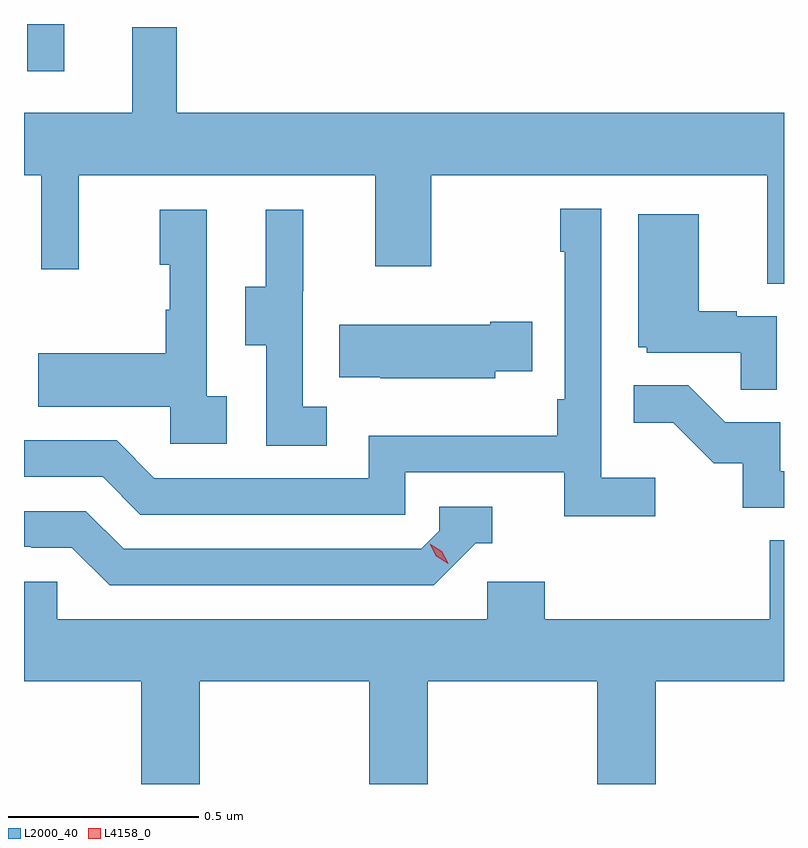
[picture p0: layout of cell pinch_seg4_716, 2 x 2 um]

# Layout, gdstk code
import gdstk
lib = gdstk.Library(unit=1e-6, precision=1e-09)
def R(c, l, rs):  # rectangles x0, y0, x1, y1
    for r in rs: c.add(gdstk.rectangle(r[:2], r[2:], *l))
def P(c, l, *ps):  # polygons
    for p in ps: c.add(gdstk.Polygon(p, *l))
L2000_40 = (2000, 40)
L4158_0 = (4158, 0)

pinch_seg4_716 = lib.new_cell('pinch_seg4_716')
R(pinch_seg4_716, L2000_40, [(1114.34,763.794,1114.437,763.918)])
P(pinch_seg4_716, L2000_40, [(1114.733,763.909),(1114.616,763.909),(1114.616,763.684),(1114.331,763.684),(1114.331,763.52),(1114.377,763.52),(1114.377,763.272),(1114.475,763.272),(1114.475,763.52),(1115.255,763.52),(1115.255,763.281),(1115.403,763.281),(1115.403,763.52),(1116.287,763.52),(1116.287,763.234),(1116.331,763.234),(1116.331,763.684),(1114.733,763.684)],
  [(1115.992,762.724),(1115.85,762.724),(1115.85,763.432),(1115.742,763.432),(1115.742,763.319),(1115.754,763.319),(1115.754,762.931),(1115.734,762.931),(1115.734,762.835),(1115.238,762.835),(1115.238,762.723),(1114.674,762.723),(1114.575,762.822),(1114.331,762.822),(1114.331,762.726),(1114.538,762.726),(1114.637,762.627),(1115.334,762.627),(1115.334,762.738),(1115.753,762.738),(1115.753,762.622),(1115.992,762.622)],
  [(1114.864,762.938),(1114.812,762.938),(1114.812,763.429),(1114.688,763.429),(1114.688,763.284),(1114.714,763.284),(1114.714,763.166),(1114.704,763.166),(1114.704,763.051),(1114.369,763.051),(1114.369,762.911),(1114.716,762.911),(1114.716,762.813),(1114.864,762.813)],
  [(1115.128,762.911),(1115.064,762.911),(1115.064,763.215),(1115.066,763.215),(1115.066,763.429),(1114.967,763.429),(1114.967,763.227),(1114.913,763.227),(1114.913,763.072),(1114.968,763.072),(1114.968,762.808),(1115.128,762.808)],
  [(1116.312,763.149),(1116.206,763.149),(1116.206,763.162),(1116.106,763.162),(1116.106,763.417),(1115.948,763.417),(1115.948,763.068),(1115.97,763.068),(1115.97,763.053),(1116.217,763.053),(1116.217,762.955),(1116.312,762.955)],
  [(1115.571,763.004),(1115.669,763.004),(1115.669,763.134),(1115.558,763.134),(1115.558,763.126),(1115.161,763.126),(1115.161,762.989),(1115.269,762.989),(1115.269,762.986),(1115.571,762.986)],
  [(1116.331,762.741),(1116.321,762.741),(1116.321,762.87),(1116.177,762.87),(1116.079,762.968),(1115.935,762.968),(1115.935,762.869),(1116.039,762.869),(1116.146,762.762),(1116.223,762.762),(1116.223,762.645),(1116.331,762.645)],
  [(1115.52,762.552),(1115.563,762.552),(1115.563,762.648),(1115.424,762.648),(1115.424,762.585),(1115.376,762.537),(1114.593,762.537),(1114.494,762.636),(1114.331,762.636),(1114.331,762.543),(1114.35,762.543),(1114.35,762.54),(1114.457,762.54),(1114.556,762.441),(1115.409,762.441)],
  [(1114.794,762.188),(1115.239,762.188),(1115.239,761.918),(1115.394,761.918),(1115.394,762.188),(1115.839,762.188),(1115.839,761.918),(1115.994,761.918),(1115.994,762.188),(1116.331,762.188),(1116.331,762.56),(1116.293,762.56),(1116.293,762.352),(1115.702,762.352),(1115.702,762.45),(1115.55,762.45),(1115.55,762.352),(1114.419,762.352),(1114.419,762.45),(1114.331,762.45),(1114.331,762.188),(1114.639,762.188),(1114.639,761.918),(1114.794,761.918)])
P(pinch_seg4_716, L4158_0, [(1115.447,762.498),(1115.416,762.517),(1115.399,762.55),(1115.399,762.55),(1115.399,762.55),(1115.43,762.531),(1115.447,762.499),(1115.447,762.498)])

lib.write_gds('pinch_seg4_716.gds')
